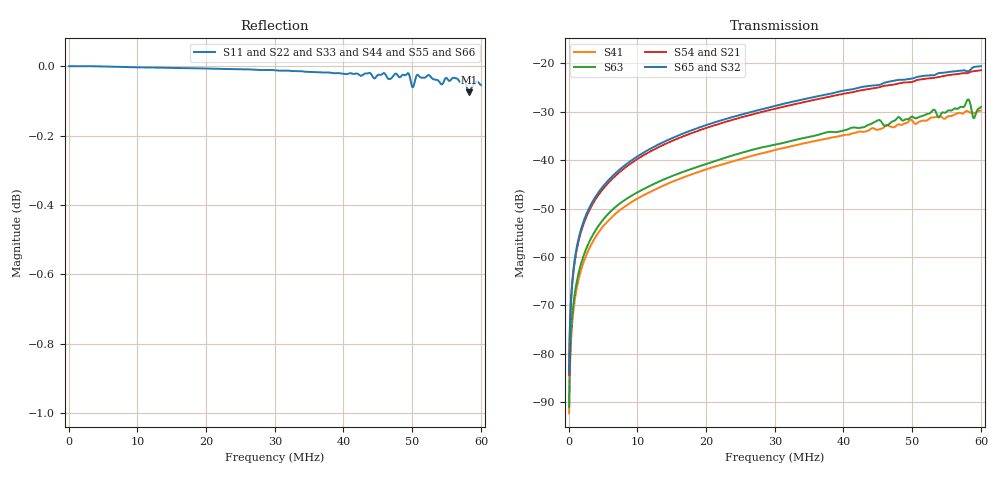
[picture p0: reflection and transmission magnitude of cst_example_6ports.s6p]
! TOUCHSTONE file generated by CST MICROWAVE STUDIO
! Date and time: Mon Jul 31 14:49:02 2017
! Project name: NCC-1701.cst
! Parameters = {FW_Rcenter=7864; FW_Zcenter=610.6; FW_height=1100; FW_incl_angle=2.98905; FW_incl_angle_rad=0.0521687; FW_thickness=43.026; LCFS_Rcenter=8199;  toroidal_opening_angle=0.150864; vertical_septa_correction=9.52041; vertical_septa_correction_out=9.52041; vertical_septum_maximum_process=1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
! Header version: 2015
! Port assignment regex: !\s*Touchstone port\s*([0-9]+)\s*=\s*CST MWS port\s*([0-9]+)\s*\(\"(.*)\"\)(\s*mode\s*([0-9]+))?.*
! Touchstone port assignment:
! Touchstone port 1 = CST MWS port 1 ("")
! Touchstone port 2 = CST MWS port 2 ("")
! Touchstone port 3 = CST MWS port 3 ("")
! Touchstone port 4 = CST MWS port 4 ("")
! Touchstone port 5 = CST MWS port 5 ("")
! Touchstone port 6 = CST MWS port 6 ("")
# MHz S MA R 50
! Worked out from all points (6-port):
!   1000 points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, 60 kHz to 60 MHz, reference 50 ohm
!   strongest paths, dB at 60 kHz, 15.06 MHz, 30.06 MHz, 45.06 MHz, 60 MHz:
!     S65: -83.8, -35.4, -28.8, -24.5, -20.6
!     S32: -84.0, -35.6, -28.9, -24.7, -20.8
!     S54: -84.3, -36.0, -29.4, -25.0, -21.4
!     S21: -84.5, -36.1, -29.5, -25.0, -21.5
!     S63: -91.0, -43.3, -36.8, -31.7, -29.0
!     S41: -92.3, -44.5, -37.9, -33.7, -29.7
!   lowest |S11| = -0.1 dB at 58.26 MHz (marker M1), VSWR 232.15, Z = 0.373 + j42.8 ohm
!   |S11| at or under -10 dB: nowhere
